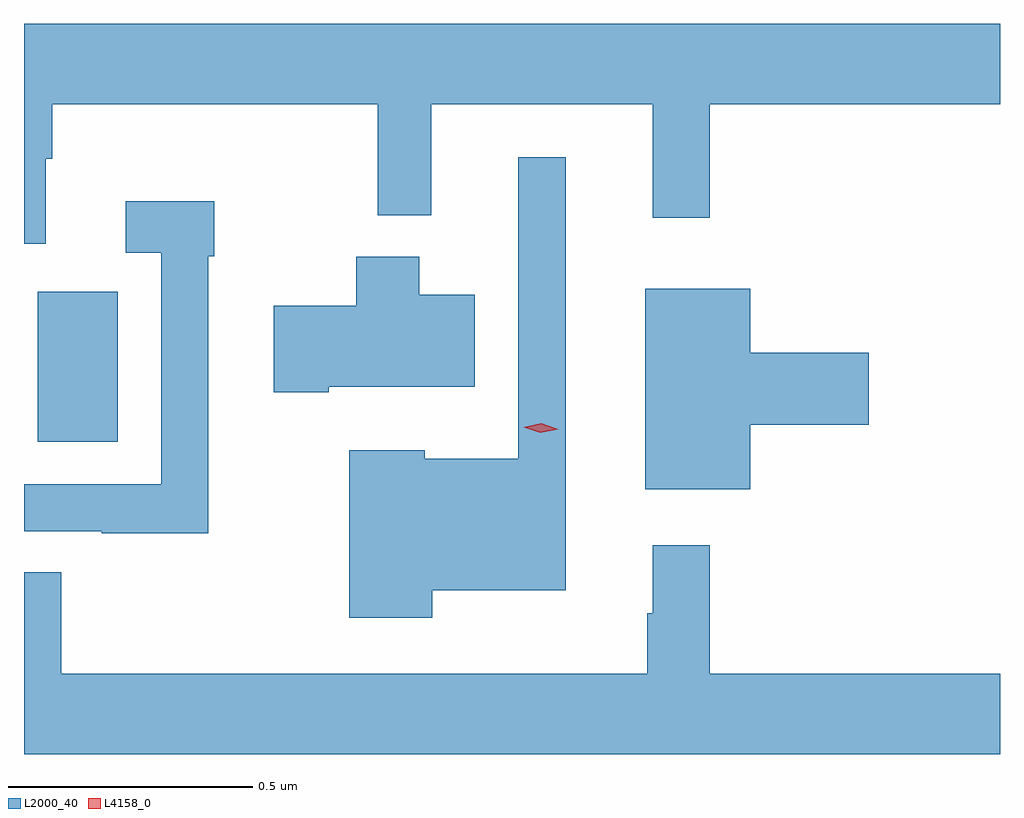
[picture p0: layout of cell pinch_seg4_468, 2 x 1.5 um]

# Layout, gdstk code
import gdstk
lib = gdstk.Library(unit=1e-6, precision=1e-09)
def R(c, l, rs):  # rectangles x0, y0, x1, y1
    for r in rs: c.add(gdstk.rectangle(r[:2], r[2:], *l))
def P(c, l, *ps):  # polygons
    for p in ps: c.add(gdstk.Polygon(p, *l))
L2000_40 = (2000, 40)
L4158_0 = (4158, 0)

pinch_seg4_468 = lib.new_cell('pinch_seg4_468')
R(pinch_seg4_468, L2000_40, [(899.294,778.812,899.458,779.119)])
P(pinch_seg4_468, L2000_40, [(899.311,779.392),(899.324,779.392),(899.324,779.504),(899.991,779.504),(899.991,779.276),(900.101,779.276),(900.101,779.504),(900.554,779.504),(900.554,779.271),(900.671,779.271),(900.671,779.504),(901.266,779.504),(901.266,779.668),(899.266,779.668),(899.266,779.218),(899.311,779.218)],
  [(900.103,778.508),(900.376,778.508),(900.376,779.395),(900.279,779.395),(900.279,778.777),(900.087,778.777),(900.087,778.795),(899.933,778.795),(899.933,778.451),(900.103,778.451)],
  [(899.644,779.192),(899.656,779.192),(899.656,779.305),(899.475,779.305),(899.475,779.199),(899.547,779.199),(899.547,778.725),(899.266,778.725),(899.266,778.629),(899.425,778.629),(899.425,778.624),(899.644,778.624)],
  [(899.89,778.925),(900.19,778.925),(900.19,779.113),(900.076,779.113),(900.076,779.191),(899.947,779.191),(899.947,779.091),(899.778,779.091),(899.778,778.913),(899.89,778.913)],
  [(900.754,778.847),(900.997,778.847),(900.997,778.994),(900.754,778.994),(900.754,779.125),(900.539,779.125),(900.539,778.715),(900.754,778.715)],
  [(901.266,778.336),(900.671,778.336),(900.671,778.6),(900.554,778.6),(900.554,778.46),(900.543,778.46),(900.543,778.336),(899.342,778.336),(899.342,778.544),(899.266,778.544),(899.266,778.172),(901.266,778.172)])
P(pinch_seg4_468, L4158_0, [(900.324,778.83),(900.29,778.842),(900.289,778.842),(900.29,778.842),(900.326,778.85),(900.361,778.838),(900.361,778.838),(900.361,778.838)])

lib.write_gds('pinch_seg4_468.gds')
